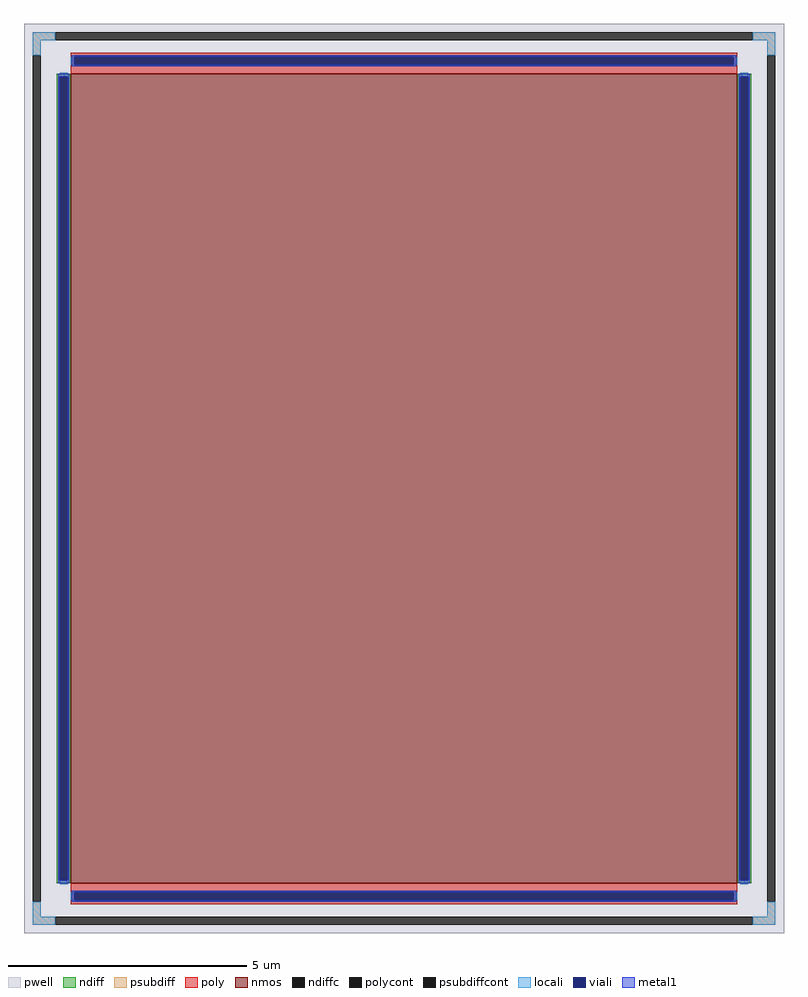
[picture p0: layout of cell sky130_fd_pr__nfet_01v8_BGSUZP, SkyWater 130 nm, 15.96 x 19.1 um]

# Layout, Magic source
magic
tech sky130A
<< pwell >>
rect -798 -955 798 955
<< nmos >>
rect -700 -850 700 850
<< ndiff >>
rect -729 844 -700 850
rect -729 -844 -723 844
rect -706 -844 -700 844
rect -729 -850 -700 -844
rect 700 844 729 850
rect 700 -844 706 844
rect 723 -844 729 844
rect 700 -850 729 -844
<< ndiffc >>
rect -723 -844 -706 844
rect 706 -844 723 844
<< psubdiff >>
rect -780 920 -732 937
rect 732 920 780 937
rect -780 889 -763 920
rect 763 889 780 920
rect -780 -920 -763 -889
rect 763 -920 780 -889
rect -780 -937 -732 -920
rect 732 -937 780 -920
<< psubdiffcont >>
rect -732 920 732 937
rect -780 -889 -763 889
rect 763 -889 780 889
rect -732 -937 732 -920
<< poly >>
rect -700 886 700 894
rect -700 869 -692 886
rect 692 869 700 886
rect -700 850 700 869
rect -700 -869 700 -850
rect -700 -886 -692 -869
rect 692 -886 700 -869
rect -700 -894 700 -886
<< polycont >>
rect -692 869 692 886
rect -692 -886 692 -869
<< locali >>
rect -780 920 -732 937
rect 732 920 780 937
rect -780 889 -763 920
rect 763 889 780 920
rect -700 869 -692 886
rect 692 869 700 886
rect -723 844 -706 852
rect -723 -852 -706 -844
rect 706 844 723 852
rect 706 -852 723 -844
rect -700 -886 -692 -869
rect 692 -886 700 -869
rect -780 -920 -763 -889
rect 763 -920 780 -889
rect -780 -937 -732 -920
rect 732 -937 780 -920
<< viali >>
rect -692 869 692 886
rect -723 -844 -706 844
rect 706 -844 723 844
rect -692 -886 692 -869
<< metal1 >>
rect -698 886 698 889
rect -698 869 -692 886
rect 692 869 698 886
rect -698 866 698 869
rect -726 844 -703 850
rect -726 -844 -723 844
rect -706 -844 -703 844
rect -726 -850 -703 -844
rect 703 844 726 850
rect 703 -844 706 844
rect 723 -844 726 844
rect 703 -850 726 -844
rect -698 -869 698 -866
rect -698 -886 -692 -869
rect 692 -886 698 -869
rect -698 -889 698 -886
<< properties >>
string FIXED_BBOX -771 -928 771 928
string gencell sky130_fd_pr__nfet_01v8
string library sky130
string parameters w 17 l 14 m 1 nf 1 diffcov 100 polycov 100 guard 1 glc 1 grc 1 gtc 1 gbc 1 tbcov 100 rlcov 100 topc 1 botc 1 poverlap 0 doverlap 1 lmin 0.15 wmin 0.42 compatible {sky130_fd_pr__nfet_01v8 sky130_fd_pr__nfet_01v8_lvt  sky130_fd_bs_flash__special_sonosfet_star  sky130_fd_pr__nfet_g5v0d10v5 sky130_fd_pr__nfet_05v0_nvt  sky130_fd_pr__nfet_03v3_nvt} full_metal 1 viasrc 100 viadrn 100 viagate 100 viagb 0 viagr 0 viagl 0 viagt 0
<< end >>
